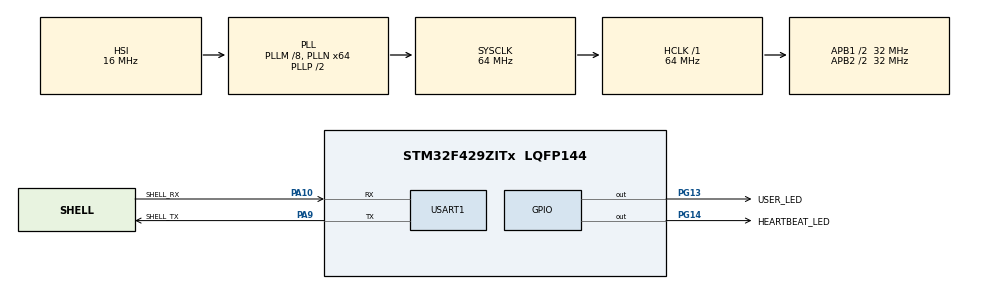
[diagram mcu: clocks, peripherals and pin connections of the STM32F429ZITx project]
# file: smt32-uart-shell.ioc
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Mcu.Family=STM32F4
Mcu.Name=STM32F429ZITx
Mcu.Package=LQFP144
NVIC.PriorityGroup=NVIC_PRIORITYGROUP_4
NVIC.USART1_IRQn=true\:0\:0\:false\:false\:true\:true\:true\:true
PA10.GPIO_Label=SHELL_RX
PA10.Mode=Asynchronous
PA10.Signal=USART1_RX
PA9.GPIO_Label=SHELL_TX
PA9.Mode=Asynchronous
PA9.Signal=USART1_TX
PG13.GPIO_Label=USER_LED
PG13.PinState=GPIO_PIN_SET
PG13.Signal=GPIO_Output
PG14.GPIO_Label=HEARTBEAT_LED
PG14.PinState=GPIO_PIN_SET
PG14.Signal=GPIO_Output
ProjectManager.HeapSize=0x200
ProjectManager.StackSize=0x400
ProjectManager.TargetToolchain=STM32CubeIDE
RCC.48MHZClocksFreq_Value=32000000
RCC.AHBFreq_Value=64000000
RCC.APB1CLKDivider=RCC_HCLK_DIV2
RCC.APB1Freq_Value=32000000
RCC.APB1TimFreq_Value=64000000
RCC.APB2CLKDivider=RCC_HCLK_DIV2
RCC.APB2Freq_Value=32000000
RCC.APB2TimFreq_Value=64000000
RCC.CortexFreq_Value=64000000
RCC.HCLKFreq_Value=64000000
RCC.HSE_VALUE=25000000
RCC.HSI_VALUE=16000000
RCC.LSE_VALUE=32768
RCC.PLLM=8
RCC.PLLN=64
RCC.SYSCLKFreq_VALUE=64000000
RCC.SYSCLKSource=RCC_SYSCLKSOURCE_PLLCLK
RCC.VCOOutputFreq_Value=128000000
USART1.VirtualMode=VM_ASYNC
board=custom

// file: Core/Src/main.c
/* USER CODE BEGIN Header */
/**
 ******************************************************************************
 * @file           : main.c
 * @brief          : Main program body
 ******************************************************************************
 * @attention
 *
 * Copyright (c) 2025 STMicroelectronics.
 * All rights reserved.
 *
 * This software is licensed under terms that can be found in the LICENSE file
 * in the root directory of this software component.
 * If no LICENSE file comes with this software, it is provided AS-IS.
 *
 ******************************************************************************
 */
/* USER CODE END Header */
#include "main.h"

/* USER CODE BEGIN Includes */
#include <stdio.h>

#include "shell.h"
#include "uart_driver.h"
#include "led_driver.h"

/* USER CODE END Includes */

/* USER CODE BEGIN PD */
#define HEARTBEAT_TIMEOUT_MS 500

/* USER CODE END PD */

UART_HandleTypeDef huart1;

void SystemClock_Config(void);
static void MX_GPIO_Init(void);
static void MX_USART1_UART_Init(void);

/* USER CODE BEGIN 0 */

shell_t shell;

led_driver_t user_led;
led_driver_t heartbeat_led;

int _write(int file, char *ptr, int len) {
  return uart_driver_send(shell_get_driver_instance(&shell), (uint8_t *)ptr, (size_t)len);
}

/* USER CODE END 0 */

int main(void)
{

  /* MCU Configuration--------------------------------------------------------*/

  /* Reset of all peripherals, Initializes the Flash interface and the Systick. */
  HAL_Init();

  /* Configure the system clock */
  SystemClock_Config();

  /* Initialize all configured peripherals */
  MX_GPIO_Init();
  MX_USART1_UART_Init();
  /* USER CODE BEGIN 2 */
  shell_init(&shell, &huart1);
  led_driver_init(&user_led, USER_LED_GPIO_Port, USER_LED_Pin);
  led_driver_init(&heartbeat_led, HEARTBEAT_LED_GPIO_Port, HEARTBEAT_LED_Pin);
  led_driver_blink(&heartbeat_led, HEARTBEAT_TIMEOUT_MS);

  /* USER CODE END 2 */

  /* Infinite loop */
  /* USER CODE BEGIN WHILE */
    while (1) {
      shell_task(&shell);
      led_driver_task(&user_led);
      led_driver_task(&heartbeat_led);
    /* USER CODE END WHILE */

    }
}

void SystemClock_Config(void)
{
  RCC_OscInitTypeDef RCC_OscInitStruct = {0};
  RCC_ClkInitTypeDef RCC_ClkInitStruct = {0};

  /** Configure the main internal regulator output voltage
  */
  __HAL_RCC_PWR_CLK_ENABLE();
  __HAL_PWR_VOLTAGESCALING_CONFIG(PWR_REGULATOR_VOLTAGE_SCALE3);

  /** Initializes the RCC Oscillators according to the specified parameters
  * in the RCC_OscInitTypeDef structure.
  */
  RCC_OscInitStruct.OscillatorType = RCC_OSCILLATORTYPE_HSI;
  RCC_OscInitStruct.HSIState = RCC_HSI_ON;
  RCC_OscInitStruct.HSICalibrationValue = RCC_HSICALIBRATION_DEFAULT;
  RCC_OscInitStruct.PLL.PLLState = RCC_PLL_ON;
  RCC_OscInitStruct.PLL.PLLSource = RCC_PLLSOURCE_HSI;
  RCC_OscInitStruct.PLL.PLLM = 8;
  RCC_OscInitStruct.PLL.PLLN = 64;
  RCC_OscInitStruct.PLL.PLLP = RCC_PLLP_DIV2;
  RCC_OscInitStruct.PLL.PLLQ = 4;
  if (HAL_RCC_OscConfig(&RCC_OscInitStruct) != HAL_OK)
  {
    Error_Handler();
  }

  /** Initializes the CPU, AHB and APB buses clocks
  */
  RCC_ClkInitStruct.ClockType = RCC_CLOCKTYPE_HCLK|RCC_CLOCKTYPE_SYSCLK
                              |RCC_CLOCKTYPE_PCLK1|RCC_CLOCKTYPE_PCLK2;
  RCC_ClkInitStruct.SYSCLKSource = RCC_SYSCLKSOURCE_PLLCLK;
  RCC_ClkInitStruct.AHBCLKDivider = RCC_SYSCLK_DIV1;
  RCC_ClkInitStruct.APB1CLKDivider = RCC_HCLK_DIV2;
  RCC_ClkInitStruct.APB2CLKDivider = RCC_HCLK_DIV2;

  if (HAL_RCC_ClockConfig(&RCC_ClkInitStruct, FLASH_LATENCY_2) != HAL_OK)
  {
    Error_Handler();
  }
}

static void MX_USART1_UART_Init(void)
{

  huart1.Instance = USART1;
  huart1.Init.BaudRate = 115200;
  huart1.Init.WordLength = UART_WORDLENGTH_8B;
  huart1.Init.StopBits = UART_STOPBITS_1;
  huart1.Init.Parity = UART_PARITY_NONE;
  huart1.Init.Mode = UART_MODE_TX_RX;
  huart1.Init.HwFlowCtl = UART_HWCONTROL_NONE;
  huart1.Init.OverSampling = UART_OVERSAMPLING_16;
  if (HAL_UART_Init(&huart1) != HAL_OK)
  {
    Error_Handler();
  }

}

static void MX_GPIO_Init(void)
{
  GPIO_InitTypeDef GPIO_InitStruct = {0};

  /* GPIO Ports Clock Enable */
  __HAL_RCC_GPIOA_CLK_ENABLE();
  __HAL_RCC_GPIOG_CLK_ENABLE();

  /*Configure GPIO pin Output Level */
  HAL_GPIO_WritePin(GPIOG, USER_LED_Pin|HEARTBEAT_LED_Pin, GPIO_PIN_SET);

  /*Configure GPIO pins : USER_LED_Pin HEARTBEAT_LED_Pin */
  GPIO_InitStruct.Pin = USER_LED_Pin|HEARTBEAT_LED_Pin;
  GPIO_InitStruct.Mode = GPIO_MODE_OUTPUT_PP;
  GPIO_InitStruct.Pull = GPIO_NOPULL;
  GPIO_InitStruct.Speed = GPIO_SPEED_FREQ_LOW;
  HAL_GPIO_Init(GPIOG, &GPIO_InitStruct);

}

void Error_Handler(void)
{
  /* USER CODE BEGIN Error_Handler_Debug */
    /* User can add his own implementation to report the HAL error return state
     */
    __disable_irq();
    while (1) {
    }
  /* USER CODE END Error_Handler_Debug */
}

#ifdef  USE_FULL_ASSERT
/**
  * @brief  Reports the name of the source file and the source line number
  *         where the assert_param error has occurred.
  * @param  file: pointer to the source file name
  * @param  line: assert_param error line source number
  * @retval None
  */
void assert_failed(uint8_t *file, uint32_t line)
{
  /* USER CODE BEGIN 6 */
    /* User can add his own implementation to report the file name and line
       number, ex: printf("Wrong parameters value: file %s on line %d\r\n",
       file, line) */
  /* USER CODE END 6 */
}
#endif /* USE_FULL_ASSERT */
